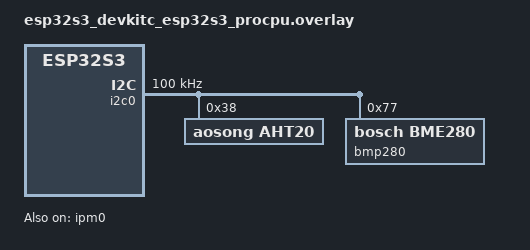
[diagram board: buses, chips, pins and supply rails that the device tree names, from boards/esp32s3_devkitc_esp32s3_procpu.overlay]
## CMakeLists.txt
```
cmake_minimum_required(VERSION 3.20.0)

find_package(Zephyr REQUIRED HINTS $ENV{ZEPHYR_BASE})
project(aht20_bmp280_multisensor_procpu)

target_sources(app PRIVATE
	src/main.c
	src/sensor_hub.c
)
```

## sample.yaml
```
sample:
  name: AHT20 + BMP280 dual-core (IPM, threshold+heartbeat) with SSD1306 on core1
  description: >
    core0 (procpu) reads AHT20 (temperature + humidity) and BMP280
    (temperature + pressure) every 100 ms each in its own thread over
    I2C0. Only AHT20 temperature (>=1C change) and BMP280 pressure
    (>=10 hPa change) trigger an immediate IPM push to core1; humidity
    and BMP280 temperature ride along in whichever payload goes out
    next without triggering one themselves. A 1 s heartbeat thread
    pushes unconditionally so the link never looks stale during quiet
    periods. core1 owns I2C1 and an SSD1306 128x64 OLED exclusively,
    displays all four values plus link health, redraws from an
    event-driven display thread woken by the IPM callback, and
    declares the link down after 2 s without a message. Built with
    --sysbuild.
tests:
  sample.sensor.aht20_bmp280_multisensor_dualcore:
    build_only: true
    sysbuild: true
    platform_allow: esp32s3_devkitc/esp32s3/procpu
    tags: sensor display i2c threads ipm multicore
```

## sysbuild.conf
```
# sysbuild.conf - sysbuild's OWN Kconfig namespace (SB_CONFIG_*), not the
# app's prj.conf.
#
# Espressif boards default to building MCUboot alongside the app whenever
# --sysbuild is used (see Zephyr docs: boards/espressif/common/building-
# flashing.html - "By default, the ESP32 sysbuild creates bootloader
# (MCUboot) and application images."). This lab has nothing to do with
# OTA/firmware upgrades - it's a plain two-image AMP build (procpu +
# appcpu) - so MCUboot is unwanted overhead, and its configure step
# failing (missing signing key, mcuboot module not fully set up, etc.)
# will abort the whole sysbuild configure before our own images are even
# reached.
#
# IMPORTANT: SB_CONFIG_BOOTLOADER is a Kconfig *choice* (single-select),
# and Espressif's board-level Kconfig.sysbuild sets its default to
# BOOTLOADER_MCUBOOT. Setting `SB_CONFIG_BOOTLOADER_MCUBOOT=n` here is
# NOT enough to override a choice's default - you have to explicitly
# select the alternative member with =y instead. That's what actually
# turns MCUboot off; the MCUBOOT=n line is kept below only for clarity
# and is otherwise redundant once BOOTLOADER_NONE=y is set.
SB_CONFIG_BOOTLOADER_NONE=y
SB_CONFIG_BOOTLOADER_MCUBOOT=n
```

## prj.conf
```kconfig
# 01_AHT20_BMP280_MultiSensor - core0 (procpu) image

CONFIG_I2C=y
CONFIG_GPIO=y

# Zephyr Sensor subsystem - AHT20 and BMP280 use in-tree drivers,
# selected from the devicetree compatible strings in the overlay.
# If your Zephyr checkout uses different Kconfig symbol names for
# either driver, `west build -t guiconfig` and search "DHT20" / "BME280".
CONFIG_SENSOR=y
CONFIG_DHT20=y
# Enables the AHT20/DHT20 driver's CRC-8 check on each 7-byte read.
# Without this, a corrupted I2C transfer silently produces plausible-
# looking-but-wrong temperature/humidity values instead of an error -
# confirmed against drivers/sensor/aosong/dht20/dht20.c upstream.
CONFIG_DHT20_CRC=y
CONFIG_BME280=y

# Inter-core mailbox to core1 (appcpu). Driver Kconfig symbol confirmed
# against drivers/ipm/Kconfig upstream: it's ESP32_SOFT_IPM, not
# IPM_ESP32 (that name doesn't exist and caused a Kconfig warning/abort
# on first build). Defaults to y automatically once the &ipm0
# devicetree node is enabled, but set explicitly here for clarity.
CONFIG_IPM=y
CONFIG_ESP32_SOFT_IPM=y

CONFIG_LOG=y
CONFIG_LOG_MODE_IMMEDIATE=y

# sensor_value_to_double() uses double-precision math; ESP32-S3 has a
# hardware FPU.
CONFIG_FPU=y
```

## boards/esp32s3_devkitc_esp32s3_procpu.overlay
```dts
/*
 * Overlay for 01_AHT20_BMP280_MultiSensor - core0 (procpu) image
 *
 * - I2C0 remapped to SDA=GPIO8 / SCL=GPIO9, per this series' I2C0
 *   convention. Owned exclusively by core0 in this dual-core layout.
 * - AHT20 (0x38) and BMP280 (0x77 on this unit - SDO tied to VDD; see
 *   the "BMP280 I2C address" note below) both use in-tree Zephyr
 *   sensor drivers (compatible "aosong,aht20" / "bosch,bme280").
 * - The SSD1306 OLED is NOT on this bus/core - it lives on I2C1,
 *   owned by core1 (remote/boards/esp32s3_devkitc_esp32s3_appcpu.overlay).
 *   Two independent Zephyr images (AMP, not SMP) cannot safely share
 *   one physical I2C controller, so sensors and display are split
 *   across ESP32-S3's two I2C peripherals instead.
 * - &ipm0 is this image's half of the core0<->core1 mailbox used to
 *   forward sensor snapshots to core1 - see src/main.c for the actual
 *   send policy (threshold-triggered + 1s heartbeat, not a fixed period).
 *
 * IMPORTANT: verify the pinctrl macro names and the &ipm0 node name
 * against your actual west workspace before building - both are
 * written from this series' established conventions, not copied from
 * a file already known to build in this workspace.
 */

#include <dt-bindings/pinctrl/esp32s3-pinctrl.h>
#include <zephyr/dt-bindings/i2c/i2c.h>

&pinctrl {
	i2c0_default: i2c0_default {
		group1 {
			pinmux = <I2C0_SDA_GPIO8>, <I2C0_SCL_GPIO9>;
			bias-pull-up;
			drive-open-drain;
			output-high;
		};
	};
};

&i2c0 {
	status = "okay";
	clock-frequency = <I2C_BITRATE_STANDARD>; /* 100 kHz */

	aht20: aht20@38 {
		compatible = "aosong,aht20";
		reg = <0x38>;
	};

	/* Confirmed via lab_tools/i2c0_scanner on real hardware
	 * (2026-09-04): this module's SDO is tied to VDD, so it
	 * responds at 0x77, not the more common 0x76 (SDO->GND).
	 */
	bmp280: bmp280@77 {
		compatible = "bosch,bme280";
		reg = <0x77>;
	};
};

&ipm0 {
	status = "okay";
};
```

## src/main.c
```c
/*
 * main.c - 01_AHT20_BMP280_MultiSensor (core0 / procpu image)
 *
 * Architecture (dual-core AMP via IPM, change-triggered + heartbeat)
 * ---------------------------------------------------------------------
 *   [aht20_thread]  100ms  -> reads temperature AND humidity
 *                           -> sensor_hub_update_aht20(temp, hum)
 *                           -> if |temp - last_sent_temp| >= 1.0C: push now
 *                              (humidity never triggers a push by itself -
 *                               it just rides along in that payload)
 *                           -> if temp is outside AHT20's rated range, treat
 *                              the sensor as stuck and self-heal - see
 *                              "AHT20 self-heal" section below.
 *
 *   [bmp280_thread] 100ms  -> reads temperature AND pressure
 *                           -> sensor_hub_update_bmp280(temp, press)
 *                           -> if |press - last_sent_press| >= 10 hPa: push now
 *                              (BMP280 temperature never triggers a push by
 *                               itself either - same "passenger" treatment)
 *
 *   [heartbeat_thread] 1000ms -> push now, unconditionally
 *
 * All three "push now" paths funnel through push_snapshot_to_core1(),
 * which always sends the FULL current snapshot (all four values), and
 * is itself serialized by g_send_lock so concurrent triggers never
 * call ipm_send() at the same time.
 *
 * Practical effect of the "passenger" design: if AHT20 humidity alone
 * swings wildly but temperature stays flat, core1 won't see it until
 * either the next BMP280 pressure threshold trigger or the next
 * heartbeat (<=1s later) - never longer than that, but not instant
 * either. Documented in the troubleshooting doc.
 *
 * AHT20 self-heal
 * ---------------
 * Confirmed on real hardware (2026-09-04): this particular AHT20 unit
 * can get stuck returning a fixed, CRC-VALID-but-physically-impossible
 * reading (~145C / ~50% humidity - the humidity value matches exactly
 * half of the ADC's full 20-bit range, the classic signature of an
 * unconverted/reset ADC register rather than a real measurement). A
 * passing CRC only proves the bytes weren't corrupted in transit, not
 * that they represent a real conversion - so Zephyr's dht20.c driver
 * (which only checks CRC and the busy bit, not physical plausibility)
 * happily returns this stuck value forever. The only thing that was
 * confirmed to clear it was fully removing and reapplying the sensor's
 * own VCC - a Zephyr MCU reset alone does NOT reset the sensor chip
 * itself, since AHT20 stays powered across an MCU reset.
 *
 * Since we can't rely on someone physically power-cycling the sensor
 * in the field, aht20_thread_fn checks every reading against AHT20's
 * datasheet-rated range (-40C..85C). Anything outside that is treated
 * as "stuck", and the thread issues the AHT20's documented soft-reset
 * command (0xBA, no payload, ~20ms to complete per datasheet) directly
 * over I2C - bypassing the Zephyr sensor API entirely, since it has no
 * public hook for this. This mimics a real power-on reset closely
 * enough in practice to clear the stuck state without any hardware
 * change.
 *
 * core0 owns I2C0 (AHT20 + BMP280). core1 owns I2C1 (SSD1306) - see
 * the design doc for why the two cores never share a peripheral.
 */

#include <zephyr/kernel.h>
#include <zephyr/device.h>
#include <zephyr/drivers/i2c.h>
#include <zephyr/drivers/sensor.h>
#include <zephyr/drivers/ipm.h>
#include <zephyr/logging/log.h>

#include "sensor_hub.h"
#include "ipm_protocol.h"

LOG_MODULE_REGISTER(app_procpu, LOG_LEVEL_INF);

/* Devicetree handles - see boards/esp32s3_devkitc_esp32s3_procpu.overlay */
static const struct device *dev_aht20  = DEVICE_DT_GET(DT_NODELABEL(aht20));
static const struct device *dev_bmp280 = DEVICE_DT_GET(DT_NODELABEL(bmp280));
static const struct device *dev_i2c0   = DEVICE_DT_GET(DT_NODELABEL(i2c0));
static const struct device *dev_ipm    = DEVICE_DT_GET(DT_NODELABEL(ipm0));

#define SENSOR_PERIOD_MS       100
#define HEARTBEAT_PERIOD_MS    1000 /* must stay well under core1's 2 s link timeout */
#define TEMP_THRESHOLD_C       1.0f
#define PRESSURE_THRESHOLD_HPA 10.0f

/* AHT20 datasheet operating range: -40C to +85C. Anything outside this
 * cannot be a real reading and is treated as "sensor stuck" - see the
 * "AHT20 self-heal" comment above for why this is necessary and safe.
 */
#define AHT20_PLAUSIBLE_MIN_C -40.0f
#define AHT20_PLAUSIBLE_MAX_C  85.0f

/* AHT20/AHT10 documented soft-reset command - no address register, no
 * payload, single command byte. Not exposed by Zephyr's dht20.c driver
 * API, so this talks to the chip directly over I2C0. Must only be
 * called while holding g_i2c0_bus_lock.
 */
#define AHT20_I2C_ADDR       0x38
#define AHT20_CMD_SOFTRESET  0xBA
#define AHT20_SOFTRESET_SETTLE_MS 30 /* datasheet: completes within 20ms */

static int aht20_soft_reset(const struct device *i2c_dev)
{
	uint8_t cmd = AHT20_CMD_SOFTRESET;
	int ret = i2c_write(i2c_dev, &cmd, 1, AHT20_I2C_ADDR);

	if (ret == 0) {
		k_msleep(AHT20_SOFTRESET_SETTLE_MS);
	}

	return ret;
}

/* Serializes the act of pushing an IPM message - up to three threads
 * (aht20, bmp280, heartbeat) can decide to push at nearly the same
 * instant, and ipm_send() should not be called concurrently.
 */
K_MUTEX_DEFINE(g_send_lock);

static void push_snapshot_to_core1(const char *reason)
{
	struct sensor_snapshot snap;

	sensor_hub_get_snapshot(&snap);

	/* Always the FULL snapshot - humidity and BMP280 temperature
	 * ride along here even though they didn't cause this push.
	 */
	struct ipm_sensor_payload payload = {
		.aht20_temp_c = snap.aht20_temp_c,
		.aht20_humidity_pct = snap.aht20_humidity_pct,
		.aht20_valid = snap.aht20_valid,
		.bmp280_temp_c = snap.bmp280_temp_c,
		.bmp280_pressure_hpa = snap.bmp280_pressure_hpa,
		.bmp280_valid = snap.bmp280_valid,
	};

	k_mutex_lock(&g_send_lock, K_FOREVER);
	/* wait=0: don't block if the mailbox is momentarily busy. A
	 * dropped push is not fatal here - either the next threshold
	 * crossing or the next heartbeat will retry with fresher data.
	 */
	int ret = ipm_send(dev_ipm, 0, IPM_SENSOR_CHANNEL, &payload, sizeof(payload));
	k_mutex_unlock(&g_send_lock);

	if (ret) {
		LOG_WRN("ipm_send failed (%s): %d", reason, ret);
	} else {
		LOG_DBG("ipm_send ok (%s)", reason);
	}
}

/* ---------------------------------------------------------------------
 * AHT20 thread - temperature + humidity, every 100 ms.
 * Only temperature (>=1C change) triggers an immediate push.
 * ------------------------------------------------------------------- */
static void aht20_thread_fn(void *p1, void *p2, void *p3)
{
	ARG_UNUSED(p1);
	ARG_UNUSED(p2);
	ARG_UNUSED(p3);

	while (1) {
		struct sensor_value temp, hum;
		int ret;

		/* Hold the bus lock across the whole fetch+get sequence,
		 * not just the I2C calls inside it - the trigger command,
		 * the ~80ms conversion wait, and the follow-up read must
		 * all complete before BMP280's thread is allowed to touch
		 * I2C0. See sensor_hub.h for why.
		 */
		k_mutex_lock(&g_i2c0_bus_lock, K_FOREVER);

		/* sensor_sample_fetch() drives the AHT20's internal 0xAC
		 * trigger + ~80ms conversion wait; note this alone eats
		 * most of the 100ms loop budget - see the troubleshooting
		 * doc for what that means for the achievable read rate.
		 */
		ret = sensor_sample_fetch(dev_aht20);

		if (ret == 0) {
			ret = sensor_channel_get(dev_aht20, SENSOR_CHAN_AMBIENT_TEMP, &temp);
			ret |= sensor_channel_get(dev_aht20, SENSOR_CHAN_HUMIDITY, &hum);
		}

		k_mutex_unlock(&g_i2c0_bus_lock);

		if (ret == 0) {
			float temp_c = sensor_value_to_double(&temp);
			float hum_pct = sensor_value_to_double(&hum);

			if (temp_c < AHT20_PLAUSIBLE_MIN_C || temp_c > AHT20_PLAUSIBLE_MAX_C) {
				/* Physically impossible reading with a valid
				 * CRC - the chip is stuck (see file header
				 * comment). Soft-reset it directly and treat
				 * this cycle as a failed read; the next
				 * cycle should come back clean.
				 */
				int temp_tenths = (int)(temp_c * 10.0f);

				LOG_WRN("AHT20 implausible temp %d.%01dC - soft-resetting",
					temp_tenths / 10, temp_tenths % 10 < 0
						? -(temp_tenths % 10) : temp_tenths % 10);

				k_mutex_lock(&g_i2c0_bus_lock, K_FOREVER);
				int reset_ret = aht20_soft_reset(dev_i2c0);
				k_mutex_unlock(&g_i2c0_bus_lock);

				if (reset_ret) {
					LOG_WRN("AHT20 soft-reset command failed: %d", reset_ret);
				}

				sensor_hub_update_aht20(0.0f, 0.0f, false);
			} else {
				sensor_hub_update_aht20(temp_c, hum_pct, true);

				/* Humidity intentionally has no threshold check of
				 * its own - see file header comment.
				 */
				if (sensor_hub_temp_exceeds_threshold(temp_c, TEMP_THRESHOLD_C)) {
					push_snapshot_to_core1("aht20-temp-threshold");
				}
			}
		} else {
			LOG_WRN("AHT20 read failed: %d", ret);
			sensor_hub_update_aht20(0.0f, 0.0f, false);
		}

		k_sleep(K_MSEC(SENSOR_PERIOD_MS));
	}
}

/* ---------------------------------------------------------------------
 * BMP280 thread - temperature + pressure, every 100 ms.
 * Only pressure (>=10 hPa change) triggers an immediate push.
 * ------------------------------------------------------------------- */
static void bmp280_thread_fn(void *p1, void *p2, void *p3)
{
	ARG_UNUSED(p1);
	ARG_UNUSED(p2);
	ARG_UNUSED(p3);

	while (1) {
		struct sensor_value temp, press;
		int ret;

		/* Same bus lock as the AHT20 thread - see sensor_hub.h.
		 * Practical consequence: since AHT20's fetch holds this
		 * lock for ~80ms out of every 100ms cycle, this thread's
		 * actual read cadence will often be pushed later than a
		 * clean 100ms, not exactly on time - correctness (never
		 * interleaving I2C0 transactions) is prioritized over
		 * strict timing here.
		 */
		k_mutex_lock(&g_i2c0_bus_lock, K_FOREVER);

		ret = sensor_sample_fetch(dev_bmp280);

		if (ret == 0) {
			ret = sensor_channel_get(dev_bmp280, SENSOR_CHAN_AMBIENT_TEMP, &temp);
			ret |= sensor_channel_get(dev_bmp280, SENSOR_CHAN_PRESS, &press);
		}

		k_mutex_unlock(&g_i2c0_bus_lock);

		if (ret == 0) {
			float temp_c = sensor_value_to_double(&temp);
			/* Zephyr's bme280 driver reports SENSOR_CHAN_PRESS
			 * in kPa; this series uses hPa, so convert once here.
			 */
			float pressure_hpa = sensor_value_to_double(&press) * 10.0f;

			sensor_hub_update_bmp280(temp_c, pressure_hpa, true);

			/* BMP280 temperature intentionally has no threshold
			 * check of its own - see file header comment.
			 */
			if (sensor_hub_pressure_exceeds_threshold(pressure_hpa,
								   PRESSURE_THRESHOLD_HPA)) {
				push_snapshot_to_core1("bmp280-pressure-threshold");
			}
		} else {
			LOG_WRN("BMP280 read failed: %d", ret);
			sensor_hub_update_bmp280(0.0f, 0.0f, false);
		}

		k_sleep(K_MSEC(SENSOR_PERIOD_MS));
	}
}

/* ---------------------------------------------------------------------
 * Heartbeat thread - keeps core1's link indicator alive when nothing
 * has crossed a threshold recently
 * ------------------------------------------------------------------- */
static void heartbeat_thread_fn(void *p1, void *p2, void *p3)
{
	ARG_UNUSED(p1);
	ARG_UNUSED(p2);
	ARG_UNUSED(p3);

	while (1) {
		push_snapshot_to_core1("heartbeat");
		k_sleep(K_MSEC(HEARTBEAT_PERIOD_MS));
	}
}

/* ---------------------------------------------------------------------
 * Thread definitions - static allocation, auto-start at boot
 * ------------------------------------------------------------------- */
K_THREAD_DEFINE(aht20_tid, 1024, aht20_thread_fn, NULL, NULL, NULL, 7, 0, 0);
K_THREAD_DEFINE(bmp280_tid, 1024, bmp280_thread_fn, NULL, NULL, NULL, 7, 0, 0);
K_THREAD_DEFINE(heartbeat_tid, 1024, heartbeat_thread_fn, NULL, NULL, NULL, 6, 0, 0);

int main(void)
{
	LOG_INF("01_AHT20_BMP280_MultiSensor (core0/procpu) starting");

	if (!device_is_ready(dev_i2c0)) {
		LOG_ERR("I2C0 bus not ready");
		return -1;
	}
	if (!device_is_ready(dev_aht20)) {
		LOG_ERR("AHT20 device not ready - check devicetree overlay / wiring");
	}
	if (!device_is_ready(dev_bmp280)) {
		LOG_ERR("BMP280 device not ready - check devicetree overlay / wiring");
	}
	if (!device_is_ready(dev_ipm)) {
		LOG_ERR("IPM device not ready - core1 will never receive sensor data");
	}

	/* Threads above are already running (K_THREAD_DEFINE with 0 delay);
	 * main() has nothing left to do.
	 */
	return 0;
}
```

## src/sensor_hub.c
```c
/*
 * sensor_hub.c  (core0 / procpu only)
 */

#include "sensor_hub.h"
#include <math.h>

K_MUTEX_DEFINE(g_data_lock);
K_MUTEX_DEFINE(g_i2c0_bus_lock);

struct sensor_snapshot g_snapshot;

/* "Last actually sent to core1" baselines for the two thresholded
 * channels only. Guarded by g_data_lock as well.
 */
static float last_sent_aht20_temp_c;
static bool  have_sent_aht20_temp;
static float last_sent_bmp280_pressure_hpa;
static bool  have_sent_bmp280_pressure;

void sensor_hub_update_aht20(float temp_c, float humidity_pct, bool ok)
{
	k_mutex_lock(&g_data_lock, K_FOREVER);

	if (ok) {
		g_snapshot.aht20_temp_c = temp_c;
		g_snapshot.aht20_humidity_pct = humidity_pct;
		g_snapshot.aht20_valid = true;
		g_snapshot.aht20_fail_count = 0;
	} else {
		g_snapshot.aht20_fail_count++;
		/* Keep the last good reading around; only drop `valid`
		 * after a few consecutive failures so a single noisy
		 * transaction doesn't blank core1's display.
		 */
		if (g_snapshot.aht20_fail_count >= 3) {
			g_snapshot.aht20_valid = false;
		}
	}

	k_mutex_unlock(&g_data_lock);
}

void sensor_hub_update_bmp280(float temp_c, float pressure_hpa, bool ok)
{
	k_mutex_lock(&g_data_lock, K_FOREVER);

	if (ok) {
		g_snapshot.bmp280_temp_c = temp_c;
		g_snapshot.bmp280_pressure_hpa = pressure_hpa;
		g_snapshot.bmp280_valid = true;
		g_snapshot.bmp280_fail_count = 0;
	} else {
		g_snapshot.bmp280_fail_count++;
		if (g_snapshot.bmp280_fail_count >= 3) {
			g_snapshot.bmp280_valid = false;
		}
	}

	k_mutex_unlock(&g_data_lock);
}

void sensor_hub_get_snapshot(struct sensor_snapshot *out)
{
	k_mutex_lock(&g_data_lock, K_FOREVER);
	*out = g_snapshot;
	k_mutex_unlock(&g_data_lock);
}

bool sensor_hub_temp_exceeds_threshold(float new_temp_c, float threshold)
{
	bool trigger;

	k_mutex_lock(&g_data_lock, K_FOREVER);

	trigger = (!have_sent_aht20_temp) ||
		  (fabsf(new_temp_c - last_sent_aht20_temp_c) >= threshold);
	if (trigger) {
		last_sent_aht20_temp_c = new_temp_c;
		have_sent_aht20_temp = true;
	}

	k_mutex_unlock(&g_data_lock);

	return trigger;
}

bool sensor_hub_pressure_exceeds_threshold(float new_pressure_hpa, float threshold)
{
	bool trigger;

	k_mutex_lock(&g_data_lock, K_FOREVER);

	trigger = (!have_sent_bmp280_pressure) ||
		  (fabsf(new_pressure_hpa - last_sent_bmp280_pressure_hpa) >= threshold);
	if (trigger) {
		last_sent_bmp280_pressure_hpa = new_pressure_hpa;
		have_sent_bmp280_pressure = true;
	}

	k_mutex_unlock(&g_data_lock);

	return trigger;
}
```

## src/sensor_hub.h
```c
/*
 * sensor_hub.h  (core0 / procpu only)
 *
 * Holds the latest full reading from each sensor - AHT20 gives
 * temperature + humidity, BMP280 gives temperature + pressure, all
 * four values are kept and eventually displayed on core1. Only two
 * of the four (AHT20 temperature, BMP280 pressure) have a "last sent"
 * baseline and a threshold check below; humidity and BMP280
 * temperature are carried along in whichever payload goes out next
 * (a threshold trigger from their own sensor's other channel, or the
 * heartbeat) but never trigger a send by themselves - see main.c.
 *
 * All access goes through g_data_lock.
 */

#ifndef SENSOR_HUB_H_
#define SENSOR_HUB_H_

#include <zephyr/kernel.h>
#include <stdbool.h>

struct sensor_snapshot {
	float aht20_temp_c;
	float aht20_humidity_pct;
	bool  aht20_valid;
	int   aht20_fail_count;

	float bmp280_temp_c;
	float bmp280_pressure_hpa;
	bool  bmp280_valid;
	int   bmp280_fail_count;
};

extern struct k_mutex g_data_lock;
extern struct sensor_snapshot g_snapshot;

/* Serializes ALL I2C0 traffic between the AHT20 and BMP280 threads.
 * This is deliberately separate from g_data_lock (which only protects
 * the snapshot struct): this project has an already-confirmed ESP32
 * Zephyr I2C driver reliability issue with multi-segment (repeated
 * start) transactions, and both dht20.c (AHT20) and the bme280 driver
 * rely on exactly that transaction shape internally. Wrapping each
 * sensor's ENTIRE fetch+get sequence in this lock guarantees the two
 * threads' I2C0 transactions never interleave, regardless of whether
 * the underlying platform bug would otherwise allow it.
 */
extern struct k_mutex g_i2c0_bus_lock;

/* Called only from the AHT20 thread, every ~100 ms. Updates both
 * temperature and humidity together (they come from one fetch).
 */
void sensor_hub_update_aht20(float temp_c, float humidity_pct, bool ok);

/* Called only from the BMP280 thread, every ~100 ms. Updates both
 * temperature and pressure together.
 */
void sensor_hub_update_bmp280(float temp_c, float pressure_hpa, bool ok);

/* Called from the heartbeat thread (and indirectly by main.c's push
 * helper) to get a consistent point-in-time copy for building the IPM
 * payload - includes all four values regardless of which one changed.
 */
void sensor_hub_get_snapshot(struct sensor_snapshot *out);

/* Compares `new_temp_c` (AHT20 temperature) against the value that was
 * last actually sent to core1. If they differ by at least `threshold`
 * degrees (or nothing has ever been sent yet), records the new value
 * as the baseline and returns true - the caller should push an IPM
 * message right away. Returns false otherwise. Humidity has no
 * equivalent function: it never triggers a send by itself.
 */
bool sensor_hub_temp_exceeds_threshold(float new_temp_c, float threshold);

/* Same idea for BMP280 pressure. BMP280 temperature has no equivalent
 * function: it never triggers a send by itself.
 */
bool sensor_hub_pressure_exceeds_threshold(float new_pressure_hpa, float threshold);

#endif /* SENSOR_HUB_H_ */
```
